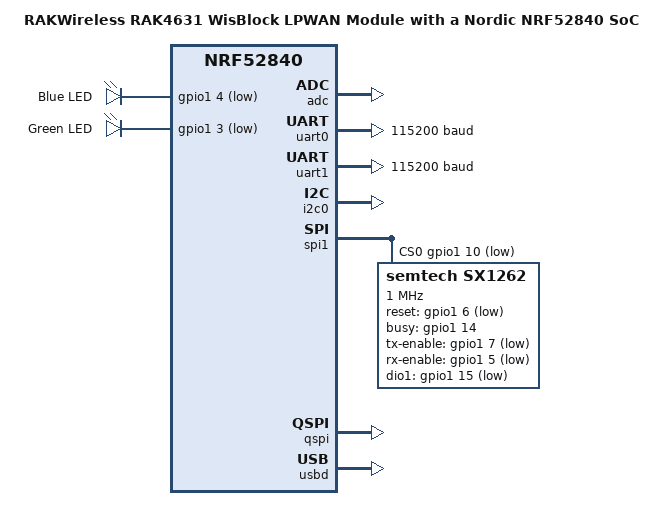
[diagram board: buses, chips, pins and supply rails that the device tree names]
/*
 * Copyright (c) 2021 Guillaume Paquet <guillaume.paquet@smile.fr>
 *
 * SPDX-License-Identifier: Apache-2.0
 */

/dts-v1/;
#include <nordic/nrf52840_qiaa.dtsi>
#include <zephyr/dt-bindings/lora/sx126x.h>
#include "rak4631_nrf52840-pinctrl.dtsi"

/ {
	model = "RAKWireless RAK4631 WisBlock LPWAN Module with a Nordic NRF52840 SoC";
	compatible = "nordic,rak4631_nrf52840";

	chosen {
		zephyr,console = &uart1;
		zephyr,shell-uart = &uart1;
		zephyr,uart-mcumgr = &uart1;
		zephyr,bt-mon-uart = &uart1;
		zephyr,bt-c2h-uart = &uart1;
		zephyr,sram = &sram0;
		zephyr,flash = &flash0;
		zephyr,code-partition = &slot0_partition;
	};

	leds {
		compatible = "gpio-leds";
		blue_led: led_2 {
			gpios = <&gpio1 4 GPIO_ACTIVE_LOW>;
			label = "Blue LED";
		};
		green_led: led_1 {
			gpios = <&gpio1 3 GPIO_ACTIVE_LOW>;
			label = "Green LED";
		};
	};

	/* Declaration of aliases */
	aliases {
		led0 = &blue_led;
		lora0 = &lora;
	};
};

&adc {
	status = "okay";
};

&gpiote {
	status = "okay";
};

&gpio0 {
	status = "okay";
};

&gpio1 {
	status = "okay";
};

&uart0 {
	compatible = "nordic,nrf-uart";
	status = "okay";
	current-speed = <115200>;
	pinctrl-0 = <&uart0_default>;
	pinctrl-1 = <&uart0_sleep>;
	pinctrl-names = "default", "sleep";
};

&uart1 {
	compatible = "nordic,nrf-uarte";
	current-speed = <115200>;
	status = "okay";
	pinctrl-0 = <&uart1_default>;
	pinctrl-1 = <&uart1_sleep>;
	pinctrl-names = "default", "sleep";
};

&i2c0 {
	compatible = "nordic,nrf-twi";
	status = "okay";
	pinctrl-0 = <&i2c0_default>;
	pinctrl-1 = <&i2c0_sleep>;
	pinctrl-names = "default", "sleep";
};

&i2c1 {
	compatible = "nordic,nrf-twi";
	/* Cannot be used together with spi1. */
	/* status = "okay"; */
	pinctrl-0 = <&i2c1_default>;
	pinctrl-1 = <&i2c1_sleep>;
	pinctrl-names = "default", "sleep";
};

&spi1 {
	compatible = "nordic,nrf-spi";
	status = "okay";
	cs-gpios = <&gpio1 10 GPIO_ACTIVE_LOW>;

	pinctrl-0 = <&spi1_default>;
	pinctrl-1 = <&spi1_sleep>;
	pinctrl-names = "default", "sleep";
	lora: lora@0 {
		compatible = "semtech,sx1262";
		reg = <0>;
		label = "sx1262";
		reset-gpios = <&gpio1 6 GPIO_ACTIVE_LOW>;
		busy-gpios = <&gpio1 14 GPIO_ACTIVE_HIGH>;
		tx-enable-gpios = <&gpio1 7 GPIO_ACTIVE_LOW>;
		rx-enable-gpios = <&gpio1 5 GPIO_ACTIVE_LOW>;
		dio1-gpios = <&gpio1 15 GPIO_ACTIVE_LOW>;
		dio2-tx-enable;
		dio3-tcxo-voltage = <SX126X_DIO3_TCXO_3V3>;
		tcxo-power-startup-delay-ms = <5>;
		spi-max-frequency = <1000000>;
	};
};

&qspi {
	status = "okay";
	pinctrl-0 = <&qspi_default>;
	pinctrl-1 = <&qspi_sleep>;
	pinctrl-names = "default", "sleep";
};

&flash0 {

	partitions {
		compatible = "fixed-partitions";
		#address-cells = <1>;
		#size-cells = <1>;

		boot_partition: partition@0 {
			label = "mcuboot";
			reg = <0x00000000 0x0000C000>;
		};
		slot0_partition: partition@c000 {
			label = "image-0";
			reg = <0x0000C000 0x00067000>;
		};
		slot1_partition: partition@73000 {
			label = "image-1";
			reg = <0x00073000 0x00067000>;
		};
		scratch_partition: partition@da000 {
			label = "image-scratch";
			reg = <0x000da000 0x0001e000>;
		};

		/*
		 * The flash starting at 0x000f8000 and ending at
		 * 0x000fffff is reserved for use by the application.
		 */

		/*
		 * Storage partition will be used by FCB/LittleFS/NVS
		 * if enabled.
		 */
		storage_partition: partition@f8000 {
			label = "storage";
			reg = <0x000f8000 0x00008000>;
		};
	};
};

zephyr_udc0: &usbd {
	compatible = "nordic,nrf-usbd";
	status = "okay";
};
